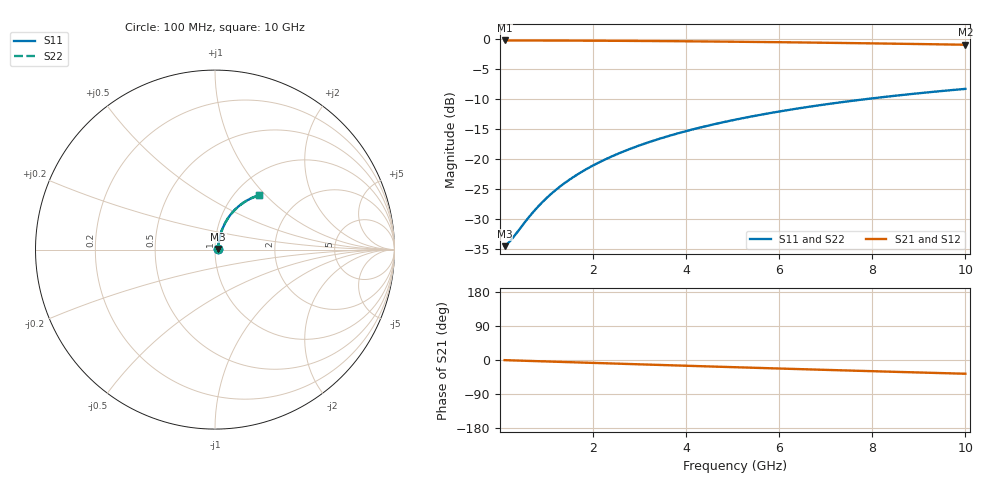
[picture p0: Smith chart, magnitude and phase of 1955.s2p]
# Hz S RI R 50.00
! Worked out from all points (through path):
!   100 points, 100 MHz to 10 GHz, reference 50 ohm
!   highest |S21| = -0.16 dB at 100 MHz (marker M1); lowest = -0.9 dB at 10 GHz (marker M2)
!   group delay of S21, straight-line fit = 10.1 ps
!   lowest |S11| = -34.5 dB at 100 MHz (marker M3), VSWR 1.04, Z = 51.9 + j0.441 ohm
!   |S11| at or under -10 dB: start of sweep to 7.8 GHz
!   |S22| runs from -34.5 to -8.2 dB; largest |S21 - S12| = 0
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1e8  0.0185 0.00425  0.9815 -0.00656  0.9815 -0.00656  0.0185 0.00425
2e8  0.0187 0.0085  0.9813 -0.0131  0.9813 -0.0131  0.0187 0.0085
3e8  0.0189 0.0127  0.9811 -0.0197  0.9811 -0.0197  0.0189 0.0127
5e8  0.0195 0.0212  0.9804 -0.0327  0.9804 -0.0327  0.0195 0.0212
7e8  0.0203 0.0297  0.9796 -0.0458  0.9796 -0.0458  0.0203 0.0297
8e8  0.0207 0.0339  0.9791 -0.0523  0.9791 -0.0523  0.0207 0.0339
1e9  0.0218 0.0423  0.9779 -0.0654  0.9779 -0.0654  0.0218 0.0423
1.2e9  0.0231 0.0507  0.9765 -0.0783  0.9765 -0.0783  0.0231 0.0507
1.4e9  0.0247 0.059  0.9748 -0.0913  0.9748 -0.0913  0.0247 0.059
1.6e9  0.0264 0.0673  0.9729 -0.1042  0.9729 -0.1042  0.0264 0.0673
1.8e9  0.0284 0.0755  0.9707 -0.117  0.9707 -0.117  0.0284 0.0755
2.1e9  0.0317 0.0877  0.9671 -0.1361  0.9671 -0.1361  0.0317 0.0877
2.5e9  0.0368 0.1037  0.9614 -0.1614  0.9614 -0.1614  0.0368 0.1037
2.9e9  0.0428 0.1194  0.9549 -0.1863  0.9549 -0.1863  0.0428 0.1194
3.4e9  0.0514 0.1384  0.9454 -0.2168  0.9454 -0.2168  0.0514 0.1384
4.2e9  0.0675 0.1673  0.9277 -0.2643  0.9277 -0.2643  0.0675 0.1673
5.1e9  0.0888 0.1972  0.904 -0.3151  0.904 -0.3151  0.0888 0.1972
5.9e9  0.1102 0.2213  0.8802 -0.3578  0.8802 -0.3578  0.1102 0.2213
6.7e9  0.1336 0.2427  0.854 -0.3979  0.854 -0.3979  0.1336 0.2427
7.5e9  0.1586 0.2614  0.8259 -0.4354  0.8259 -0.4354  0.1586 0.2614
8.4e9  0.1882 0.2791  0.7923 -0.4743  0.7923 -0.4743  0.1882 0.2791
1e10  0.2431 0.3018  0.7289 -0.5348  0.7289 -0.5348  0.2431 0.3018
